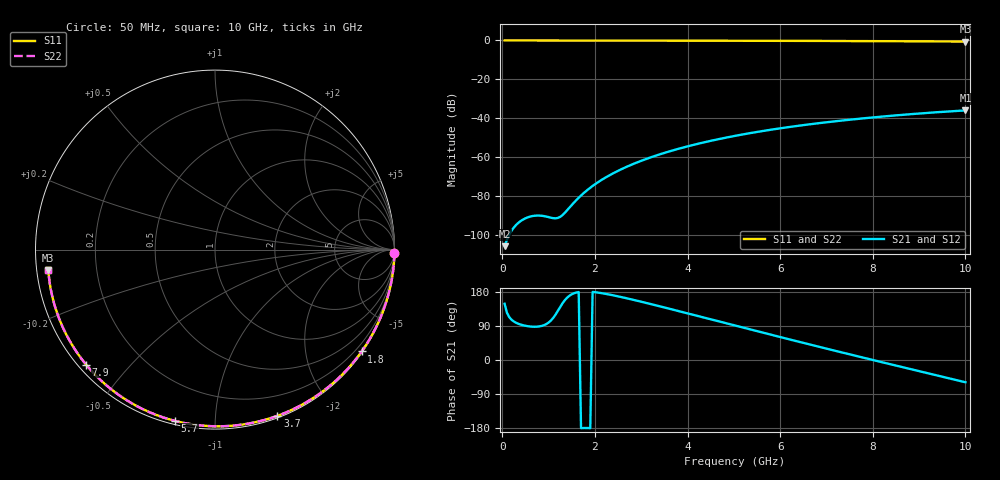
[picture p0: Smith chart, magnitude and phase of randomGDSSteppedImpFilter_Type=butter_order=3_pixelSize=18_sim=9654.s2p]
! freq	dB(S11)	phase(S11)	dB(S12)	phase(S12)
!  dB(S21)	phase(S21)	dB(S22)	phase(S22)
!S-par simulation data
#  GHz  S  DB  R 50
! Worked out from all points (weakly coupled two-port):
!   200 points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, 50 MHz to 10 GHz, reference 50 ohm
!   highest |S21| = -36.03 dB at 10 GHz (marker M1); lowest = -105.9 dB at 50 MHz (marker M2)
!   lowest |S11| = -0.6 dB at 10 GHz (marker M3), VSWR 30.08, Z = 1.67 - j3.07 ohm
!   |S11| at or under -10 dB: nowhere
!   |S22| runs from -0.6 to 0.0 dB; largest |S21 - S12| = 0
!   S11 on the Smith chart (normalised r, x): 50 MHz: open; 1.8 GHz: 0.03, -3.19; 3.7 GHz: 0.02, -1.44; 5.7 GHz: 0.02, -0.79; 7.9 GHz: 0.02, -0.38; 10 GHz: 0.03, -0.06
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0.05  -0.00 -1.0  -105.93 148.5  -105.93 148.5  -0.00 -1.0
0.45  -0.01 -8.8  -92.20 91.6  -92.20 91.6  -0.01 -8.8
0.85  -0.02 -16.6  -90.27 89.9  -90.27 89.9  -0.02 -16.6
1.65  -0.04 -31.9  -80.98 179.4  -80.98 179.4  -0.04 -31.9
1.7  -0.04 -32.9  -79.84 -179.8  -79.84 -179.8  -0.04 -32.9
1.75  -0.04 -33.8  -78.76 -179.4  -78.76 -179.4  -0.04 -33.8
1.8  -0.04 -34.8  -77.73 -179.3  -77.73 -179.3  -0.04 -34.8
2.1  -0.05 -40.4  -72.48 177.3  -72.48 177.3  -0.05 -40.4
2.45  -0.06 -46.9  -67.72 169.3  -67.72 169.3  -0.06 -46.9
2.9  -0.07 -55.1  -62.91 156.8  -62.91 156.8  -0.07 -55.1
3.4  -0.09 -64.1  -58.65 141.7  -58.65 141.7  -0.09 -64.1
3.7  -0.09 -69.4  -56.48 132.4  -56.48 132.4  -0.09 -69.4
4.35  -0.12 -80.7  -52.50 112.1  -52.50 112.1  -0.12 -80.6
5.05  -0.14 -92.4  -49.02 90.1  -49.02 90.1  -0.14 -92.4
5.7  -0.17 -103.1  -46.34 69.9  -46.34 69.9  -0.17 -103.1
6.2  -0.20 -111.2  -44.56 54.4  -44.56 54.4  -0.20 -111.2
6.7  -0.23 -119.2  -42.99 39.1  -42.99 39.1  -0.23 -119.2
7.3  -0.28 -128.7  -41.32 20.9  -41.32 20.9  -0.28 -128.7
7.9  -0.33 -138.3  -39.86 3.0  -39.86 3.0  -0.33 -138.2
8.35  -0.37 -145.5  -38.88 -10.3  -38.88 -10.3  -0.37 -145.4
9.2  -0.47 -159.3  -37.27 -35.3  -37.27 -35.3  -0.47 -159.3
10  -0.58 -173.0  -36.03 -58.7  -36.03 -58.7  -0.58 -172.9
